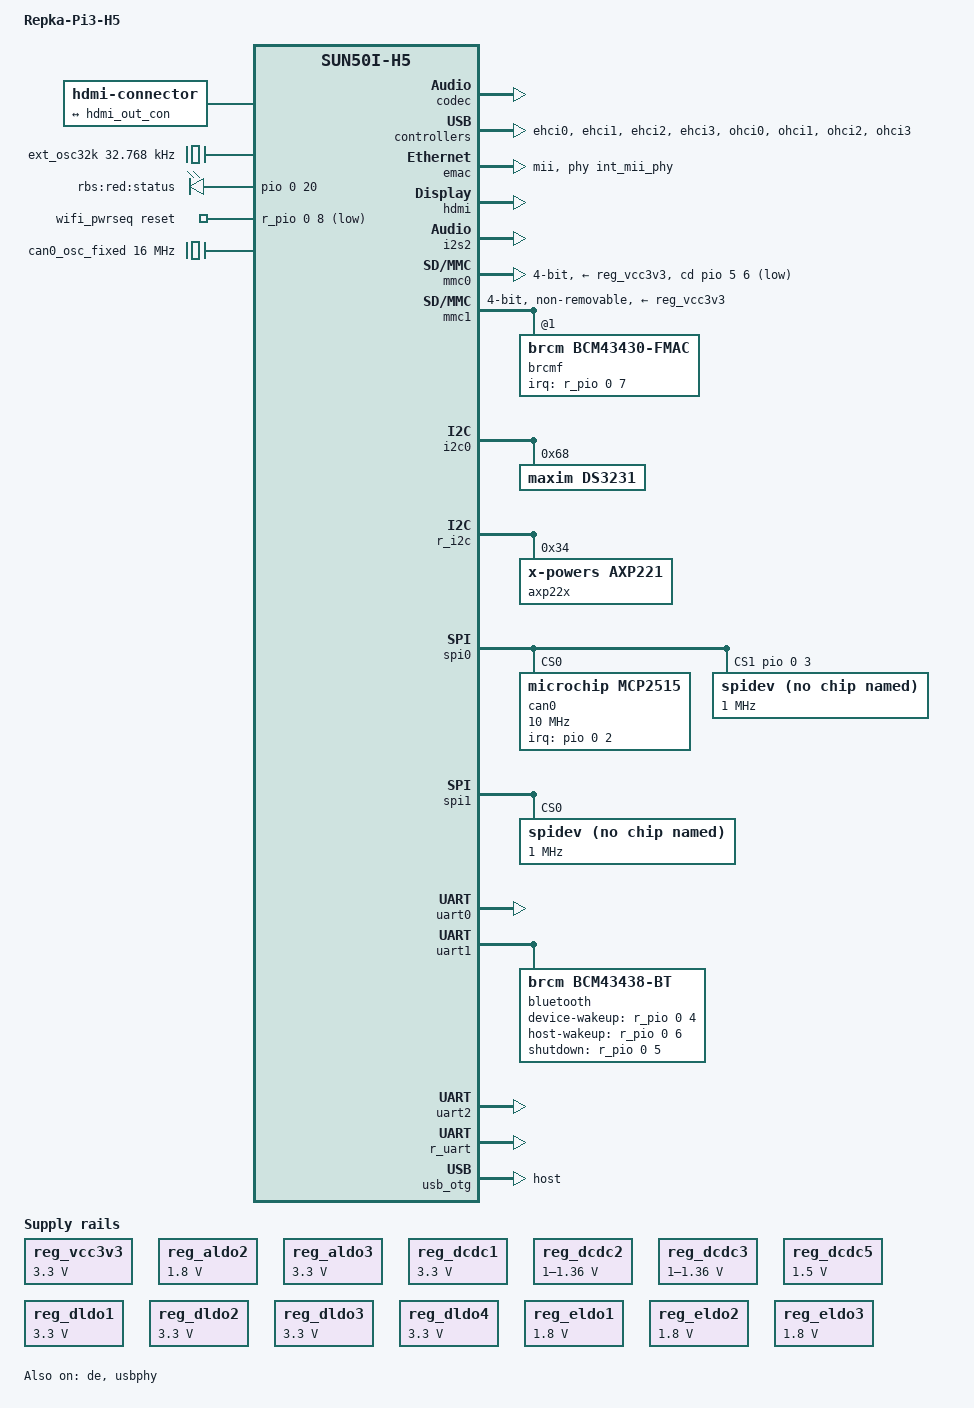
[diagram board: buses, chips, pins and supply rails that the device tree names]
// SPDX-License-Identifier: (GPL-2.0+ OR MIT)
// Copyright (C) 2016 ARM Ltd.

/dts-v1/;
#include "sun50i-h5-repka.dtsi"
#include "sun50i-h5-repka-cpu-opp-1.2ghz.dtsi"

#include <dt-bindings/gpio/gpio.h>
#include <dt-bindings/input/input.h>
#include <dt-bindings/pinctrl/sun4i-a10.h>

/ {
	model = "Repka-Pi3-H5";
	repka-freq = "1.2 GHz";
	repka-pinout = "3";
	repka-cooling = "0";
	compatible = "rbs,repka-pi3", "allwinner,sun50i-h5";

	reg_vcc3v3: vcc3v3 {
		compatible = "regulator-fixed";
		regulator-name = "vcc3v3";
		regulator-min-microvolt = <3300000>;
		regulator-max-microvolt = <3300000>;
	};

	aliases {
		ethernet0 = &emac;
		serial0 = &uart0;
		serial1 = &uart1;
		spi0 = &spi0;
		spi1 = &spi1;
		rtc0 = "/soc/i2c@1c2ac00/rtc@68";
		rtc1 = "/soc/rtc@1f00000";
	};

	chosen {
		stdout-path = "serial0:115200n8";
	};

	connector {
		compatible = "hdmi-connector";
		type = "a";

		port {
			hdmi_con_in: endpoint {
				remote-endpoint = <&hdmi_out_con>;
			};
		};
	};

	ext_osc32k: ext_osc32k_clk {
		#clock-cells = <0>;
		compatible = "fixed-clock";
		clock-frequency = <32768>;
		clock-output-names = "ext_osc32k";
	};

	leds {
		compatible = "gpio-leds";
		
		status {
			label = "rbs:red:status";
			gpios = <&pio 0 20 GPIO_ACTIVE_HIGH>;
			linux,default-trigger = "heartbeat";
		};
	};

	wifi_pwrseq: wifi_pwrseq {
		compatible = "mmc-pwrseq-simple";
		reset-gpios = <&r_pio 0 8 GPIO_ACTIVE_LOW>; 
		post-power-on-delay-ms = <255>; 
	};

	can0_osc_fixed: can0_osc_fixed {
		compatible = "fixed-clock";
		#clock-cells = <0>;
		clock-frequency  = <16000000>;		/* какой кварц на модуле, 8Мгц - 16Мгц ? */
	};

};

&codec {
	allwinner,audio-routing =
		"Line Out", "LINEOUT",
		"MIC1", "Mic",
		"Mic",  "MBIAS";
	status = "okay";
};

&cpu0 {
	cpu-supply = <&reg_dcdc2>;
};

&cpu1 {
	cpu-supply = <&reg_dcdc2>;
};

&cpu2 {
	cpu-supply = <&reg_dcdc2>;
};

&cpu3 {
	cpu-supply = <&reg_dcdc2>;
};

&de {
	status = "okay";
};

&ehci0 {
	status = "okay";
};

&ehci1 {
	status = "okay";
};

&ehci2 {
	status = "okay";
};

&ehci3 {
	status = "okay";
};

&emac {
	phy-handle = <&int_mii_phy>;
	phy-mode = "mii";
	allwinner,leds-active-low;
	status = "okay";
};

&hdmi {
	status = "okay";
};

&hdmi_out {
	hdmi_out_con: endpoint {
		remote-endpoint = <&hdmi_con_in>;
	};
};

&i2s2 {
	status = "okay";
};

&sound_hdmi {
	status = "okay";
};

&ir {
	pinctrl-names = "default";
	pinctrl-0 = <&r_ir_rx_pin>;
	status = "disabled";
};

&rtc {
	clocks = <&ext_osc32k>;
};

&mmc0 {
	vmmc-supply = <&reg_vcc3v3>;
	bus-width = <4>;
	cd-gpios = <&pio 5 6 GPIO_ACTIVE_LOW>; /* PF6 */
	status = "okay";
};

&mmc1 {
	vmmc-supply = <&reg_vcc3v3>;
	mmc-pwrseq = <&wifi_pwrseq>;
	bus-width = <4>;
	non-removable;
	status = "okay";
	
	brcmf: wifi@1 {
		reg = <1>;
		compatible = "brcm,bcm43430-fmac";
		interrupt-parent = <&r_pio>;
		interrupts = <0 7 IRQ_TYPE_LEVEL_LOW>;	/* PL7 */
		interrupt-names = "host-wake";
	};

};

&mmc2 {
	pinctrl-names = "default";
	pinctrl-0 = <&mmc2_8bit_pins>;
	vmmc-supply = <&reg_vcc3v3>;
	bus-width = <8>;
	non-removable;
	cap-mmc-hw-reset;
	status = "disabled";
};

&ohci0 {
	status = "okay";
};

&ohci1 {
	status = "okay";
};

&ohci2 {
	status = "okay";
};

&ohci3 {
	status = "okay";
};

&i2c1 {
	status = "disabled";	/* PA19,PA18 */
};

&i2c0 {
	status = "okay";	/* PA11, PA12 */
	
	ds3231: rtc@68 {
	compatible = "maxim,ds3231";
	reg = <0x68>;
	/* quartz-load-femtofarads = <7000>;  */
	};
	
};

&r_i2c {
	status = "okay";

	axp22x: pmic@34 {
		compatible = "x-powers,axp221";
		reg = <0x34>;
		interrupt-parent = <&r_intc>;
		interrupts = <0 IRQ_TYPE_LEVEL_LOW>;
	};
};

#include "axp22x.dtsi"

&ac_power_supply {
	status = "okay";
};

&reg_aldo2 {			/* VCC-PG 1.8 */
	regulator-always-on;
	regulator-min-microvolt = <1800000>;
	regulator-max-microvolt = <1800000>;
	regulator-name = "vcc-pg";
};

&reg_aldo3 {
	regulator-always-on;
	regulator-min-microvolt = <3300000>;
	regulator-max-microvolt = <3300000>;
	regulator-name = "vcc-pll-avcc";
};

&reg_dc1sw {
	regulator-name = "vcc-phy";
};

&reg_dcdc1 {
	regulator-always-on;
	regulator-min-microvolt = <3300000>;
	regulator-max-microvolt = <3300000>;
	regulator-name = "vcc-3v3";
};

&reg_dcdc2 {
	regulator-always-on;
	regulator-min-microvolt = <1000000>;
	regulator-max-microvolt = <1360000>; 
	regulator-name = "vdd-cpux-a";
};

&reg_dcdc3 {
	regulator-always-on;
	regulator-min-microvolt = <1000000>;
	regulator-max-microvolt = <1360000>;
	regulator-name = "vdd-cpux-b";
};

/* DCDC3 is polyphased with DCDC2 */

/*
 * The DRAM chips used by rbs-h5 boards are DDR3 -compatibl
 * 
 */
&reg_dcdc5 {
	regulator-always-on;
	regulator-min-microvolt = <1500000>;
	regulator-max-microvolt = <1500000>;
	regulator-name = "vcc-dram";
};

&reg_dldo1 {
	regulator-always-on;
	regulator-min-microvolt = <3300000>;
	regulator-max-microvolt = <3300000>;
	regulator-name = "vcc-wifi-1";
};

&reg_dldo2 {
	regulator-always-on;
	regulator-min-microvolt = <3300000>;
	regulator-max-microvolt = <3300000>;
	regulator-name = "vcc-wifi-2";
};

&reg_dldo3 {
	regulator-always-on;
	regulator-min-microvolt = <3300000>;
	regulator-max-microvolt = <3300000>;
	regulator-name = "vcc-wifi-3";
};

&reg_dldo4 {
	regulator-always-on;
	regulator-min-microvolt = <3300000>;
	regulator-max-microvolt = <3300000>;
	regulator-name = "vcc-wifi-4";
};
			/* VCC-wifi-IO 1.8 */
&reg_eldo1 {
	regulator-always-on;
	regulator-min-microvolt = <1800000>;
	regulator-max-microvolt = <1800000>;
	regulator-name = "vcc-wifi-io-1";
};

&reg_eldo2 {
	regulator-always-on;
	regulator-min-microvolt = <1800000>;
	regulator-max-microvolt = <1800000>;
	regulator-name = "vcc-wifi-io-2";
};

&reg_eldo3 {
	regulator-always-on;
	regulator-min-microvolt = <1800000>;
	regulator-max-microvolt = <1800000>;
	regulator-name = "vcc-wifi-io-3";
};


&reg_rtc_ldo {
	regulator-name = "vcc-rtc";
};

&spi0 {
	pinctrl-names = "default", "default";
	pinctrl-1 = <&spi0_cs1>;
	cs-gpios = <0>, <&pio 0 3 0>; /* PA3 */

	status = "okay";
	
	can0: mcp2515@0 {
		reg = <0>;
		compatible = "microchip,mcp2515";
		pinctrl-names = "default";
		pinctrl-0 = <&can0_pin_irq>;
		spi-max-frequency = <10000000>;
		interrupt-parent = <&pio>;
		interrupts = <0 2 8>; 			/* PA2 8-active low level-sensitive */
		clocks = <&can0_osc_fixed>;
	};
	
	spidev@1 {
		compatible = "rohm,dh2228fv";  
		status = "okay";
		reg = <1>;
		spi-max-frequency = <1000000>;
	};
};

&spi1 {
	pinctrl-names = "default", "default";
        
        status = "okay";
	spidev@0 {
		compatible = "rohm,dh2228fv";
		status = "okay";
		reg = <0>;
		spi-max-frequency = <1000000>;
       };
};

&pio {
		spi0_cs1: spi0_cs1 {	
			pins = "PA3";
			function = "gpio_out";
			output-high;
		};
		
		can0_pin_irq: can0_pin_irq {
			pins = "PA2";		/* поменять */
			function = "irq";
			bias-pull-up;
		};		
};


&r_pwm {
	status = "disabled";
};

/* to debag serial */
&uart0 {
	pinctrl-names = "default";
	pinctrl-0 = <&uart0_pa_pins>;
	status = "okay";
};

/* to bt-wifi module */
&uart1 {
	pinctrl-names = "default";
	pinctrl-0 = <&uart1_pins>, <&uart1_rts_cts_pins>;
	uart-has-rtscts;
	status = "okay";

	bluetooth {
		compatible = "brcm,bcm43438-bt";
		clocks = <&rtc 1>;
		clock-names = "lpo";
		device-wakeup-gpios = <&r_pio 0 4 GPIO_ACTIVE_HIGH>; /* PL4 AP-WAKE-BT */
		host-wakeup-gpios = <&r_pio 0 6 GPIO_ACTIVE_HIGH>; /* PL6 BT-WAKE-AP */
		shutdown-gpios = <&r_pio 0 5 GPIO_ACTIVE_HIGH>; /* PL5 BT-RST-N */
		max-speed = <1500000>;
	};	

};

&uart2 {
	pinctrl-names = "default";
	pinctrl-0 = <&uart2_pins>;	
	status = "okay";
};

&r_uart {
	pinctrl-names = "default";
	pinctrl-0 = <&r_uart_pins>;
	status = "okay";
};

&usb_otg {
	dr_mode = "host";
	status = "okay";
};

&usbphy {
	status = "okay";
};


